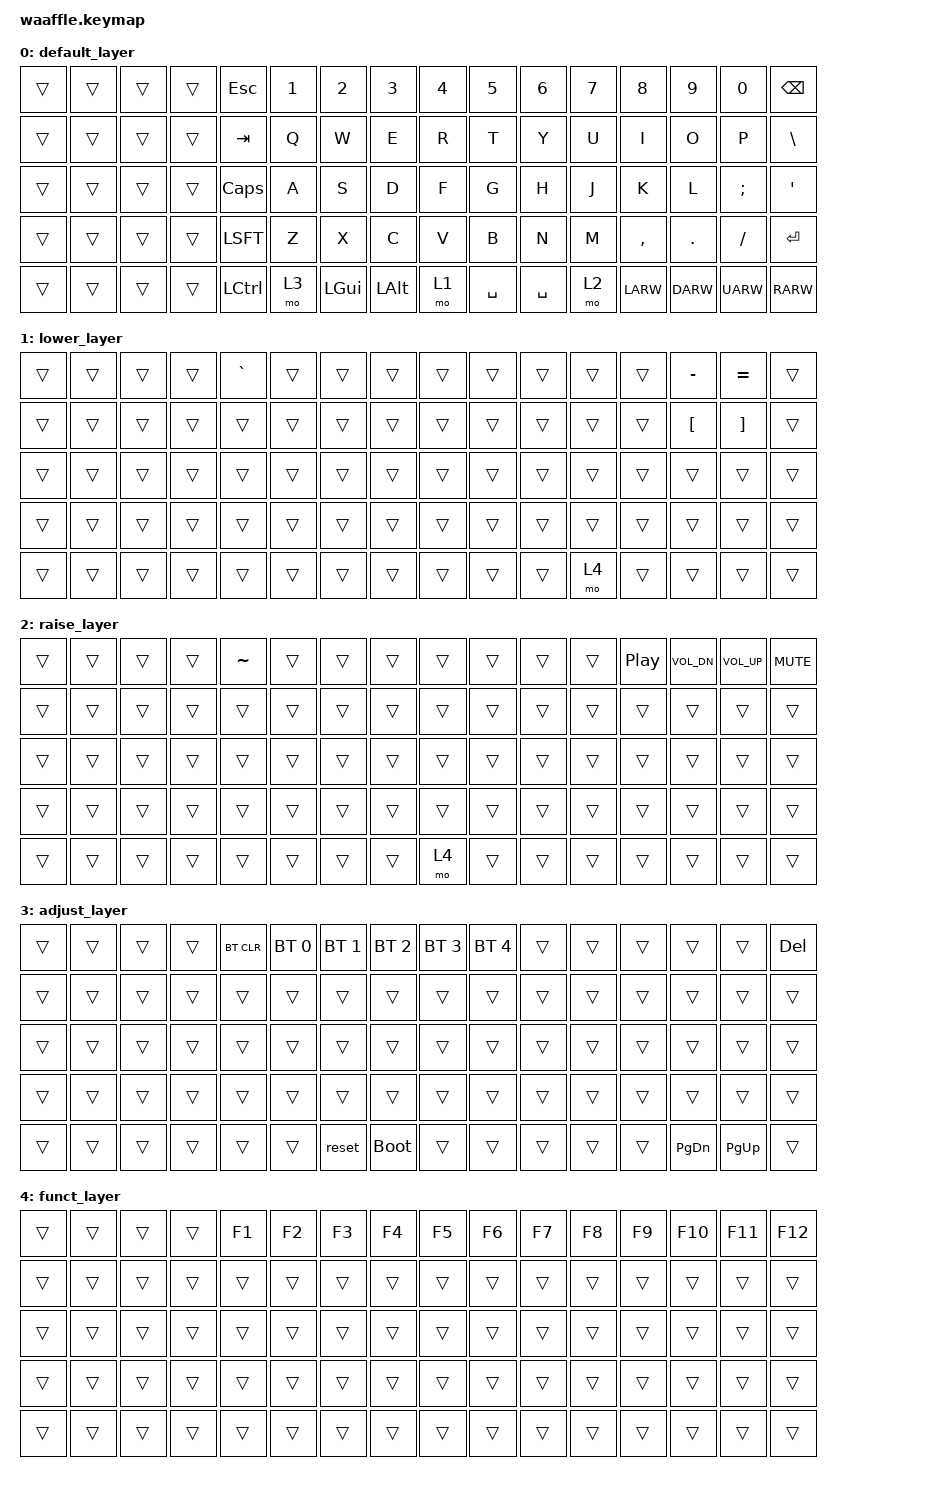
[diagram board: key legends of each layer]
/*
 * Copyright (c) 2020 dELLIKEEb
 *
 * SPDX-License-Identifier: MIT
 */

#include <behaviors.dtsi>
#include <dt-bindings/zmk/keys.h>
#include <dt-bindings/zmk/bt.h>
#include <dt-bindings/zmk/rgb.h>

// custom keycode defs for easier access
#define DEFAULT 0
#define LOWER   1
#define RAISE   2
#define ADJUST  3
#define FUNCT   4
#define BT0  BT_SEL 0
#define BT1  BT_SEL 1
#define BT2  BT_SEL 2
#define BT3  BT_SEL 3
#define BT4  BT_SEL 4
// / {
//     behaviors {
//         hm: homerow_mods {
//             compatible = "zmk,behavior-hold-tap";
//             label = "homerow mods";
//             #binding-cells = <2>;
//             tapping_term_ms = <225>;
//             flavor = "tap-preferred";
//             bindings = <&kp>, <&kp>;
//         };
//     };
// };

/ {
    keymap {
        compatible = "zmk,keymap";

        default_layer {
            bindings = <
                &trans      &trans      &trans      &trans      &kp ESC     &kp N1      &kp N2      &kp N3      &kp N4       &kp N5      &kp N6      &kp N7      &kp N8      &kp N9      &kp N0      &kp BKSP
                &trans      &trans      &trans      &trans      &kp TAB     &kp Q       &kp W       &kp E       &kp R        &kp T       &kp Y       &kp U       &kp I       &kp O       &kp P       &kp BSLH
                &trans      &trans      &trans      &trans      &kp CAPS    &kp A       &kp S       &kp D       &kp F        &kp G       &kp H       &kp J       &kp K       &kp L       &kp SCLN    &kp SQT
                &trans      &trans      &trans      &trans      &kp LSFT    &kp Z       &kp X       &kp C       &kp V        &kp B       &kp N       &kp M       &kp CMMA    &kp DOT     &kp FSLH    &kp RET
                &trans      &trans      &trans      &trans      &kp LCTRL   &mo 3       &kp LGUI    &kp LALT    &mo 1        &kp SPC     &kp SPC     &mo 2       &kp LARW    &kp DARW    &kp UARW    &kp RARW
            >;
        };

        lower_layer {
            bindings = <
                &trans      &trans      &trans      &trans      &kp GRAVE   &trans      &trans      &trans      &trans      &trans      &trans      &trans      &trans      &kp MINUS   &kp EQUAL   &trans
                &trans      &trans      &trans      &trans      &trans      &trans      &trans      &trans      &trans      &trans      &trans      &trans      &trans      &kp LBKT    &kp RBKT    &trans
                &trans      &trans      &trans      &trans      &trans      &trans      &trans      &trans      &trans      &trans      &trans      &trans      &trans      &trans      &trans      &trans
                &trans      &trans      &trans      &trans      &trans      &trans      &trans      &trans      &trans      &trans      &trans      &trans      &trans      &trans      &trans      &trans
                &trans      &trans      &trans      &trans      &trans      &trans      &trans      &trans      &trans      &trans      &trans      &mo 4       &trans      &trans      &trans      &trans
            >;
        };

        raise_layer {
            bindings = <
                &trans      &trans      &trans      &trans      &kp TILDE   &trans      &trans      &trans      &trans      &trans      &trans      &trans      &kp C_PP    &kp C_VOL_DN   &kp C_VOL_UP  &kp K_MUTE
                &trans      &trans      &trans      &trans      &trans      &trans      &trans      &trans      &trans      &trans      &trans      &trans      &trans      &trans         &trans        &trans
                &trans      &trans      &trans      &trans      &trans      &trans      &trans      &trans      &trans      &trans      &trans      &trans      &trans      &trans         &trans        &trans
                &trans      &trans      &trans      &trans      &trans      &trans      &trans      &trans      &trans      &trans      &trans      &trans      &trans      &trans         &trans        &trans
                &trans      &trans      &trans      &trans      &trans      &trans      &trans      &trans      &mo 4       &trans      &trans      &trans      &trans      &trans         &trans        &trans
            >;
        };

        adjust_layer {
            bindings = <
                &trans      &trans      &trans      &trans      &bt BT_CLR  &bt BT_SEL 0  &bt BT_SEL 1  &bt BT_SEL 2  &bt BT_SEL 3  &bt BT_SEL 4  &trans      &trans      &trans      &trans      &trans      &kp DEL
                &trans      &trans      &trans      &trans      &trans      &trans        &trans        &trans        &trans        &trans        &trans      &trans      &trans      &trans      &trans      &trans
                &trans      &trans      &trans      &trans      &trans      &trans        &trans        &trans        &trans        &trans        &trans      &trans      &trans      &trans      &trans      &trans
                &trans      &trans      &trans      &trans      &trans      &trans        &trans        &trans        &trans        &trans        &trans      &trans      &trans      &trans      &trans      &trans
                &trans      &trans      &trans      &trans      &trans      &trans        &reset        &bootloader   &trans        &trans        &trans      &trans      &trans      &kp PG_DN   &kp PG_UP   &trans
            >;
        };

        funct_layer {
            bindings = <
                &trans      &trans      &trans      &trans      &kp F1      &kp F2      &kp F3      &kp F4      &kp F5      &kp F6      &kp F7      &kp F8      &kp F9      &kp F10     &kp F11     &kp F12
                &trans      &trans      &trans      &trans      &trans      &trans      &trans      &trans      &trans      &trans      &trans      &trans      &trans      &trans      &trans      &trans
                &trans      &trans      &trans      &trans      &trans      &trans      &trans      &trans      &trans      &trans      &trans      &trans      &trans      &trans      &trans      &trans
                &trans      &trans      &trans      &trans      &trans      &trans      &trans      &trans      &trans      &trans      &trans      &trans      &trans      &trans      &trans      &trans
                &trans      &trans      &trans      &trans      &trans      &trans      &trans      &trans      &trans      &trans      &trans      &trans      &trans      &trans      &trans      &trans
            >;
        };

    };
};
